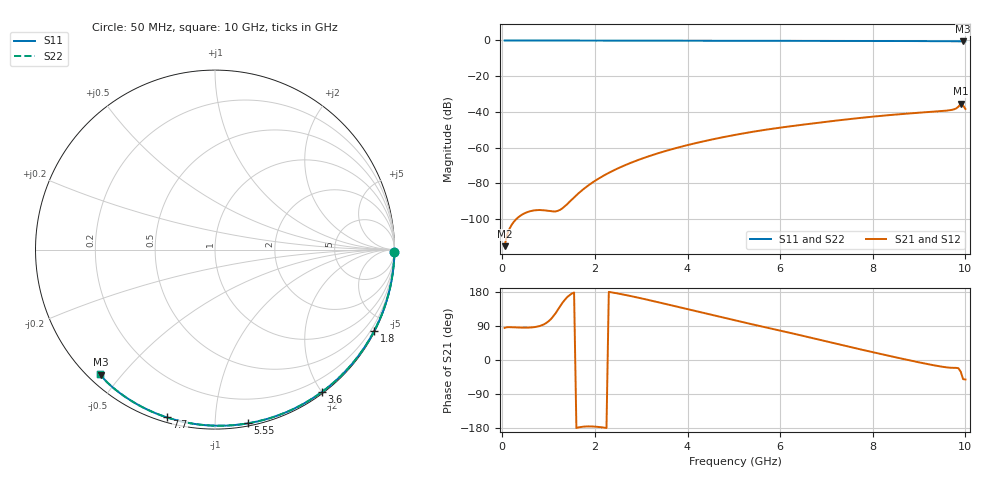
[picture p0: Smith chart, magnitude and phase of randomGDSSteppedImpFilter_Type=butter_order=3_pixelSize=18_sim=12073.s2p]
! freq	dB(S11)	phase(S11)	dB(S12)	phase(S12)
!  dB(S21)	phase(S21)	dB(S22)	phase(S22)
!S-par simulation data
#  GHz  S  DB  R 50
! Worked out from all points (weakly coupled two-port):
!   200 points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, 50 MHz to 10 GHz, reference 50 ohm
!   highest |S21| = -35.48 dB at 9.9 GHz (marker M1); lowest = -115.3 dB at 50 MHz (marker M2)
!   lowest |S11| = -0.5 dB at 9.95 GHz (marker M3), VSWR 33.77, Z = 1.77 - j22.1 ohm
!   |S11| at or under -10 dB: nowhere
!   |S22| runs from -0.5 to 0.0 dB; largest |S21 - S12| = 0
!   S11 on the Smith chart (normalised r, x): 50 MHz: open; 1.8 GHz: 0.04, -4.14; 3.6 GHz: 0.02, -2.00; 5.55 GHz: 0.02, -1.21; 7.7 GHz: 0.02, -0.75; 10 GHz: 0.04, -0.44
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0.05  -0.00 -0.8  -115.28 84.7  -115.28 84.7  -0.00 -0.8
0.9  -0.02 -13.7  -95.17 94.1  -95.17 94.1  -0.02 -13.7
1.75  -0.03 -26.4  -83.37 -175.9  -83.37 -175.9  -0.03 -26.4
1.8  -0.03 -27.2  -82.34 -175.4  -82.34 -175.4  -0.03 -27.2
1.95  -0.04 -29.4  -79.55 -175.5  -79.55 -175.5  -0.04 -29.4
2.25  -0.04 -33.8  -74.87 -179.4  -74.87 -179.4  -0.04 -33.8
2.55  -0.05 -38.2  -71.04 174.3  -71.04 174.3  -0.05 -38.2
2.95  -0.06 -43.9  -66.83 164.1  -66.83 164.1  -0.06 -43.9
3.4  -0.07 -50.3  -62.92 151.5  -62.92 151.5  -0.07 -50.3
3.6  -0.07 -53.1  -61.39 145.7  -61.39 145.7  -0.07 -53.1
4.3  -0.09 -62.8  -56.78 125.3  -56.78 125.3  -0.09 -62.8
5.05  -0.11 -72.8  -52.80 103.8  -52.80 103.8  -0.11 -72.8
5.55  -0.13 -79.3  -50.58 90.0  -50.58 90.0  -0.13 -79.3
6.7  -0.18 -93.9  -46.52 57.6  -46.52 57.6  -0.18 -93.9
7.7  -0.24 -106.0  -43.49 29.0  -43.49 29.0  -0.24 -106.0
8.35  -0.29 -113.7  -41.85 11.0  -41.85 11.0  -0.29 -113.7
9.65  -0.42 -129.0  -39.15 -20.1  -39.15 -20.1  -0.42 -129.0
9.8  -0.46 -130.8  -38.11 -20.8  -38.11 -20.8  -0.46 -130.8
9.85  -0.48 -131.4  -37.10 -21.8  -37.10 -21.8  -0.47 -131.4
9.9  -0.50 -131.9  -35.48 -31.0  -35.48 -31.0  -0.50 -131.9
9.95  -0.51 -132.3  -36.42 -50.4  -36.42 -50.4  -0.51 -132.3
10  -0.51 -132.7  -38.38 -51.4  -38.38 -51.4  -0.51 -132.7
